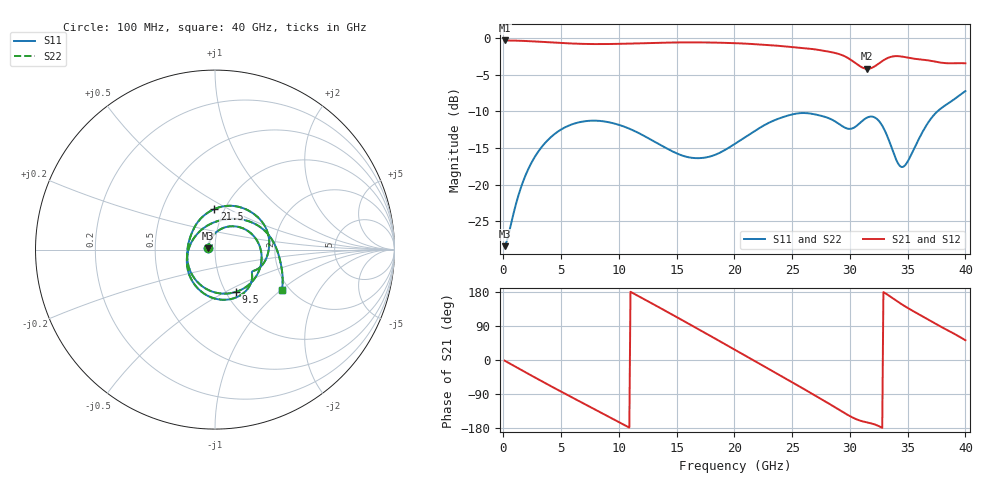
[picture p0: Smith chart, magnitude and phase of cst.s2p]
! P_ts6_finger_noplane: gold finger 0.7 × 2.1 mm between GND fingers (gap 0.3 mm), every plane cut back
! stackup: ThunderScope Rev5.3 6-layer (FR408HR / FR-4, from the board file)
! ports: 1, 2
! CST Studio Suite 2025.5 Release from 2025-05-30, time domain (FIT, hexahedral, PBA), 158340 mesh cells, 36 s
! mesh: {'lpw': 20, 'lpb': 20, 'minstep': 0.0, 'ratio': 20}; ports: port 1 (face); port 2 (face)
! interpolated from CST's 1001 samples to the case grid
# Hz S RI R 50
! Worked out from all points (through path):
!   400 points, 100 MHz to 40 GHz, reference 50 ohm
!   highest |S21| = -0.33 dB at 100 MHz (marker M1); lowest = -4.2 dB at 31.5 GHz (marker M2)
!   group delay of S21, straight-line fit = 46.5 ps
!   lowest |S11| = -28.4 dB at 100 MHz (marker M3), VSWR 1.08, Z = 46.4 + j0.657 ohm
!   |S11| at or under -10 dB: start of sweep to 37.58 GHz
!   |S22| runs from -28.4 to -7.2 dB; largest |S21 - S12| = 5.1e-07
!   S11 on the Smith chart (normalised r, x): 100 MHz: 0.93, +0.01; 9.5 GHz: 1.11, -0.56; 21.5 GHz: 0.90, +0.43; 40 GHz: 1.83, -1.01
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1e8  -0.0375 0.00707  0.9618 -0.0287  0.9618 -0.0287  -0.0375 0.00707
1.8e9  0.0218 0.1082  0.8219 -0.4863  0.8219 -0.4863  0.0218 0.1082
3.6e9  0.15 0.1207  0.4594 -0.8182  0.4594 -0.8182  0.15 0.1207
6.8e9  0.2554 -0.0845  -0.349 -0.8428  -0.349 -0.8428  0.2554 -0.0845
9.5e9  0.1153 -0.236  -0.8303 -0.3744  -0.8303 -0.3744  0.1153 -0.236
1.15e10  -0.0329 -0.2271  -0.9096 0.1322  -0.9096 0.1322  -0.0329 -0.2271
1.34e10  -0.1262 -0.1427  -0.7127 0.5936  -0.7127 0.5936  -0.1262 -0.1427
1.51e10  -0.1543 -0.0509  -0.3431 0.8672  -0.3431 0.8672  -0.1543 -0.0509
1.67e10  -0.1497 0.0253  0.0908 0.9289  0.0908 0.9289  -0.1497 0.0253
1.83e10  -0.1282 0.0952  0.5067 0.7804  0.5067 0.7804  -0.1282 0.0952
2.01e10  -0.0775 0.175  0.8284 0.4046  0.8284 0.4046  -0.0775 0.175
2.15e10  -0.00449 0.2254  0.9099 0.0281  0.9099 0.0281  -0.00449 0.2254
2.44e10  0.2112 0.2025  0.5807 -0.6559  0.5807 -0.6559  0.2112 0.2025
2.67e10  0.3023 0.0371  0.0193 -0.8422  0.0193 -0.8422  0.3023 0.0371
2.94e10  0.2204 -0.1166  -0.5599 -0.5138  -0.5599 -0.5138  0.2204 -0.1166
3.15e10  0.1726 -0.2296  -0.5954 -0.1616  -0.5954 -0.1616  0.1726 -0.2296
3.25e10  -0.000562 -0.2729  -0.6666 -0.066  -0.6666 -0.066  -0.000565 -0.2729
3.34e10  -0.1449 -0.1362  -0.7255 0.1342  -0.7255 0.1342  -0.1449 -0.1362
3.45e10  -0.1001 0.0863  -0.6254 0.4095  -0.6254 0.4095  -0.1001 0.0863
3.61e10  0.1312 0.17  -0.3384 0.6291  -0.3384 0.6291  0.1312 0.17
3.79e10  0.3305 0.0324  0.0292 0.6786  0.0292 0.6786  0.3305 0.0324
4e10  0.3733 -0.2237  0.4132 0.5307  0.4132 0.5307  0.3733 -0.2237
